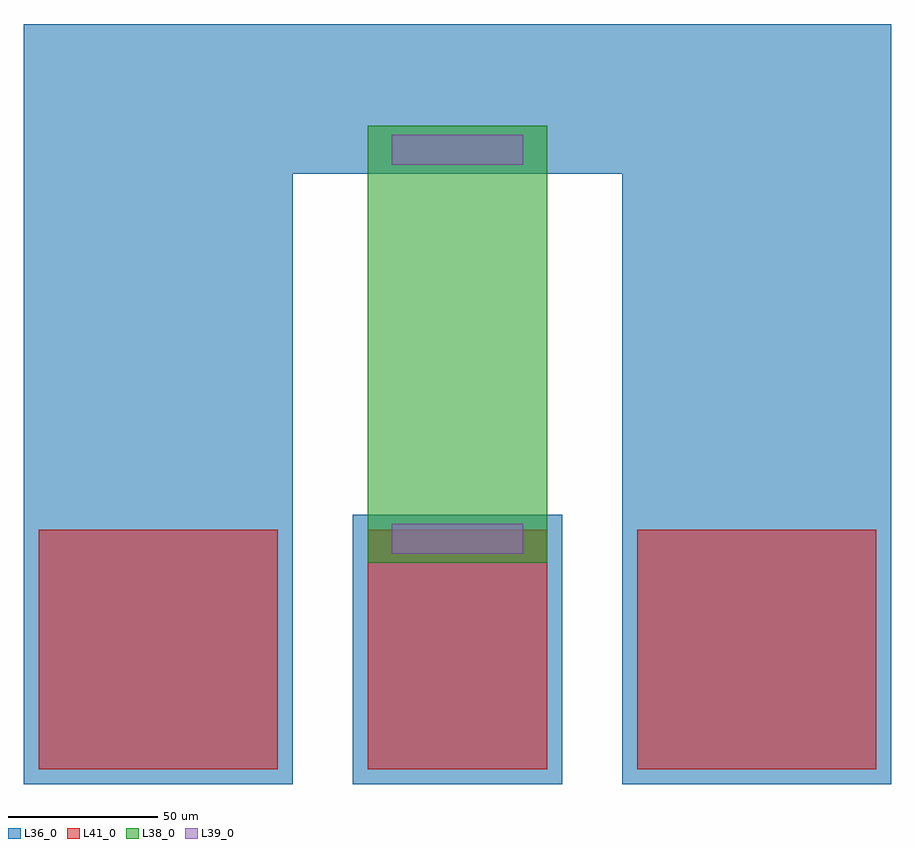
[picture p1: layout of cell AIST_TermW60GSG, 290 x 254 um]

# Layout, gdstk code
import gdstk
lib = gdstk.Library(unit=1e-6, precision=1e-09)
def R(c, l, rs):  # rectangles x0, y0, x1, y1
    for r in rs: c.add(gdstk.rectangle(r[:2], r[2:], *l))
L36_0 = (36, 0)
L38_0 = (38, 0)
L39_0 = (39, 0)
L41_0 = (41, 0)

aist_termw60gsg = lib.new_cell('AIST_TermW60GSG')
R(aist_termw60gsg, L36_0, [(0,0,90,90), (0,0,90,90), (110,0,180,90), (200,0,290,90), (0,90,90,204), (200,90,290,204), (0,204,290,254)])
R(aist_termw60gsg, L38_0, [(115,74,175,220)])
R(aist_termw60gsg, L39_0, [(123,77,167,87), (123,207,167,217)])
R(aist_termw60gsg, L41_0, [(5,5,85,85), (5,5,85,85), (115,5,175,85), (205,5,285,85)])

lib.write_gds('AIST_TermW60GSG.gds')
